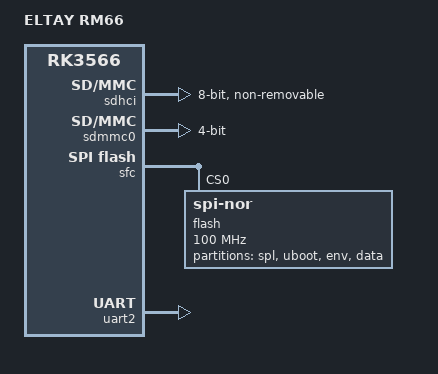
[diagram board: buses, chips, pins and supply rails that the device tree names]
// SPDX-License-Identifier: (GPL-2.0+ OR MIT)

/*
 * Minimal U-Boot control DT for the ELTAY RM66 module.
 * Linux loads a separately selected carrier DTB from /boot/dtb/rockchip.
 */

/dts-v1/;

#include <dt-bindings/gpio/gpio.h>
#include "rk3566.dtsi"

/ {
	model = "ELTAY RM66";
	compatible = "elron,eltay-rm66", "rockchip,rk3566";

	aliases {
		mmc0 = &sdhci;
		mmc1 = &sdmmc0;
		spi4 = &sfc;
	};

	chosen {
		stdout-path = "serial2:1500000n8";
	};
};

&sdhci {
	bus-width = <8>;
	cap-mmc-highspeed;
	max-frequency = <200000000>;
	mmc-hs200-1_8v;
	non-removable;
	pinctrl-names = "default";
	pinctrl-0 = <&emmc_bus8 &emmc_clk &emmc_cmd &emmc_datastrobe>;
	status = "okay";
};

&sdmmc0 {
	bus-width = <4>;
	cap-sd-highspeed;
	disable-wp;
	pinctrl-names = "default";
	pinctrl-0 = <&sdmmc0_bus4 &sdmmc0_clk &sdmmc0_cmd &sdmmc0_det>;
	status = "okay";
};

&sfc {
	#address-cells = <1>;
	#size-cells = <0>;
	status = "okay";

	flash@0 {
		compatible = "jedec,spi-nor";
		reg = <0>;
		spi-max-frequency = <100000000>;
		spi-rx-bus-width = <4>;
		spi-tx-bus-width = <1>;

		partitions {
			compatible = "fixed-partitions";
			#address-cells = <1>;
			#size-cells = <1>;

			partition@0 {
				label = "spl";
				reg = <0x00000000 0x00060000>;
				read-only;
			};

			partition@60000 {
				label = "uboot";
				reg = <0x00060000 0x001a0000>;
				read-only;
			};

			partition@200000 {
				label = "env";
				reg = <0x00200000 0x00020000>;
			};

			partition@220000 {
				label = "data";
				reg = <0x00220000 0x00de0000>;
			};
		};
	};
};

&uart2 {
	status = "okay";
};
